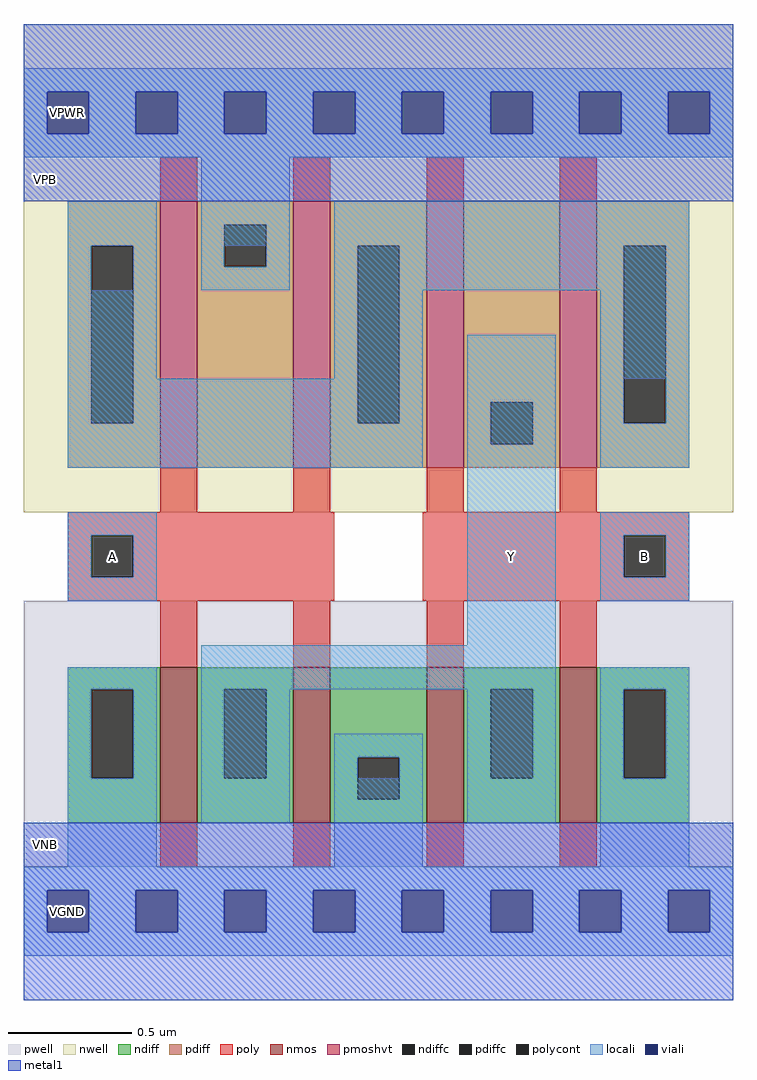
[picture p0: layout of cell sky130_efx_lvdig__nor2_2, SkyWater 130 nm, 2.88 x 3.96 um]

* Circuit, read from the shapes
.subckt sky130_efx_lvdig__nor2_2 A B Y VGND VPWR VPB VNB
XM1 Y A VGND VNB sky130_fd_pr__nfet_01v8 w=0.63 l=0.15 m=2
XM2 Y B VGND VNB sky130_fd_pr__nfet_01v8 w=0.63 l=0.15 m=2
XM3 VPWR A pmos_n6_f2_l150_hvt_ftf_0/D0 VPB sky130_fd_pr__pfet_01v8_hvt w=1.08 l=0.15 m=2
XM4 Y B pmos_n6_f2_l150_hvt_ftf_0/D0 VPB sky130_fd_pr__pfet_01v8_hvt w=1.08 l=0.15 m=2
.ends

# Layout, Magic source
magic
tech sky130A
magscale 1 2
<< nwell >>
rect 0 288 576 684
<< pwell >>
rect 0 0 576 216
<< poly >>
rect 36 269 252 288
rect 36 235 55 269
rect 89 235 252 269
rect 36 216 252 235
rect 324 269 540 288
rect 324 235 487 269
rect 521 235 540 269
rect 324 216 540 235
<< polycont >>
rect 55 235 89 269
rect 487 235 521 269
<< locali >>
rect 0 629 576 648
rect 0 595 19 629
rect 53 595 91 629
rect 125 595 163 629
rect 197 595 235 629
rect 269 595 307 629
rect 341 595 379 629
rect 413 595 451 629
rect 485 595 523 629
rect 557 595 576 629
rect 0 576 576 595
rect 144 504 216 576
rect 252 468 540 540
rect 36 396 108 468
rect 252 396 324 468
rect 36 324 324 396
rect 36 269 108 288
rect 36 235 55 269
rect 89 235 108 269
rect 36 216 108 235
rect 360 180 432 432
rect 468 396 540 468
rect 468 269 540 288
rect 468 235 487 269
rect 521 235 540 269
rect 468 216 540 235
rect 144 144 432 180
rect 144 72 216 144
rect 360 72 432 144
rect 36 0 108 72
rect 252 0 324 72
rect 468 0 540 72
rect 0 -19 576 0
rect 0 -53 19 -19
rect 53 -53 91 -19
rect 125 -53 163 -19
rect 197 -53 235 -19
rect 269 -53 307 -19
rect 341 -53 379 -19
rect 413 -53 451 -19
rect 485 -53 523 -19
rect 557 -53 576 -19
rect 0 -72 576 -53
<< viali >>
rect 19 595 53 629
rect 91 595 125 629
rect 163 595 197 629
rect 235 595 269 629
rect 307 595 341 629
rect 379 595 413 629
rect 451 595 485 629
rect 523 595 557 629
rect 19 -53 53 -19
rect 91 -53 125 -19
rect 163 -53 197 -19
rect 235 -53 269 -19
rect 307 -53 341 -19
rect 379 -53 413 -19
rect 451 -53 485 -19
rect 523 -53 557 -19
<< metal1 >>
rect 0 629 576 684
rect 0 595 19 629
rect 53 595 91 629
rect 125 595 163 629
rect 197 595 235 629
rect 269 595 307 629
rect 341 595 379 629
rect 413 595 451 629
rect 485 595 523 629
rect 557 595 576 629
rect 0 540 576 595
rect 0 -19 576 36
rect 0 -53 19 -19
rect 53 -53 91 -19
rect 125 -53 163 -19
rect 197 -53 235 -19
rect 269 -53 307 -19
rect 341 -53 379 -19
rect 413 -53 451 -19
rect 485 -53 523 -19
rect 557 -53 576 -19
rect 0 -108 576 -53
use nmos_n3f5_f1_l150  nmos_n3f5_f1_l150_0
transform 1 0 72 0 1 36
box -72 -36 180 180
use nmos_n3f5_f1_l150  nmos_n3f5_f1_l150_3
transform 1 0 396 0 1 36
box -72 -36 180 180
use nmos_n3f5_f2_l150_fbf  nmos_n3f5_f2_l150_fbf_0
transform 1 0 180 0 1 36
box -72 -36 288 180
use pmos_n6_f2_l150_hvt_ftf  pmos_n6_f2_l150_hvt_ftf_0
transform 1 0 72 0 1 324
box -72 -36 288 252
use pmos_n6_f2_l150_hvt_ftf  pmos_n6_f2_l150_hvt_ftf_1
transform 1 0 288 0 -1 540
box -72 -36 288 252
<< labels >>
flabel locali 36 216 108 288 0 FreeSans 288 0 0 0 A
port 1 nsew signal input
flabel locali 468 216 540 288 0 FreeSans 288 0 0 0 B
port 2 nsew signal input
flabel locali 360 216 432 288 0 FreeSans 288 0 0 0 Y
port 3 nsew signal output
flabel metal1 0 -72 72 0 0 FreeSans 288 0 0 0 VGND
port 4 nsew ground bidirectional
flabel metal1 0 576 72 648 0 FreeSans 288 0 0 0 VPWR
port 5 nsew power bidirectional
flabel nwell 0 540 36 576 0 FreeSans 288 0 0 0 VPB
port 6 nsew power bidirectional
flabel pwell 0 0 36 36 0 FreeSans 288 0 0 0 VNB
port 7 nsew ground bidirectional
<< properties >>
string FIXED_BBOX 0 -36 576 612
<< end >>

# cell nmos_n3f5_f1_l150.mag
magic
tech sky130A
magscale 1 2
<< pwell >>
rect -72 -36 180 180
<< nmos >>
rect 39 0 69 126
<< ndiff >>
rect -36 108 39 126
rect -36 36 -17 108
rect 17 36 39 108
rect -36 0 39 36
rect 69 108 144 126
rect 69 36 91 108
rect 125 36 144 108
rect 69 0 144 36
<< ndiffc >>
rect -17 36 17 108
rect 91 36 125 108
<< poly >>
rect 39 126 69 180
rect 39 -36 69 0
<< locali >>
rect -36 108 36 126
rect -36 36 -17 108
rect 17 36 36 108
rect -36 0 36 36
rect 72 108 144 126
rect 72 36 91 108
rect 125 36 144 108
rect 72 0 144 36
<< labels >>
rlabel locali 0 18 0 18 0 S0
port 1 nsew
rlabel locali 108 18 108 18 0 D0
port 2 nsew
<< end >>

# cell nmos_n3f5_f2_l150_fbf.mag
magic
tech sky130A
magscale 1 2
<< pwell >>
rect -72 -36 288 180
<< nmos >>
rect 39 0 69 126
rect 147 0 177 126
<< ndiff >>
rect -36 108 39 126
rect -36 36 -17 108
rect 17 36 39 108
rect -36 0 39 36
rect 69 53 147 126
rect 69 19 91 53
rect 125 19 147 53
rect 69 0 147 19
rect 177 108 252 126
rect 177 36 199 108
rect 233 36 252 108
rect 177 0 252 36
<< ndiffc >>
rect -17 36 17 108
rect 91 19 125 53
rect 199 36 233 108
<< poly >>
rect 39 126 69 180
rect 147 126 177 180
rect 39 -36 69 0
rect 147 -36 177 0
<< locali >>
rect -36 108 36 126
rect -36 36 -17 108
rect 17 36 36 108
rect 180 108 252 126
rect -36 0 36 36
rect 72 53 144 72
rect 72 19 91 53
rect 125 19 144 53
rect 72 0 144 19
rect 180 36 199 108
rect 233 36 252 108
rect 180 0 252 36
<< labels >>
rlabel locali 0 18 0 18 0 S0
port 1 nsew
rlabel locali 216 18 216 18 0 D0
port 2 nsew
<< end >>

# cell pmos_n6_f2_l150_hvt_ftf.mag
magic
tech sky130A
magscale 1 2
<< nwell >>
rect -72 -36 288 252
<< pmoshvt >>
rect 39 0 69 216
rect 147 0 177 216
<< pdiff >>
rect -36 180 39 216
rect -36 36 -17 180
rect 17 36 39 180
rect -36 0 39 36
rect 69 197 147 216
rect 69 163 91 197
rect 125 163 147 197
rect 69 0 147 163
rect 177 180 252 216
rect 177 36 199 180
rect 233 36 252 180
rect 177 0 252 36
<< pdiffc >>
rect -17 36 17 180
rect 91 163 125 197
rect 199 36 233 180
<< poly >>
rect 39 216 69 252
rect 147 216 177 252
rect 39 -36 69 0
rect 147 -36 177 0
<< locali >>
rect -36 180 36 216
rect -36 36 -17 180
rect 17 36 36 180
rect 72 197 144 216
rect 72 163 91 197
rect 125 163 144 197
rect 72 144 144 163
rect 180 180 252 216
rect -36 0 36 36
rect 180 36 199 180
rect 233 36 252 180
rect 180 0 252 36
<< labels >>
rlabel locali 0 18 0 18 0 S0
port 1 nsew
rlabel locali 216 18 216 18 0 D0
port 2 nsew
<< end >>
